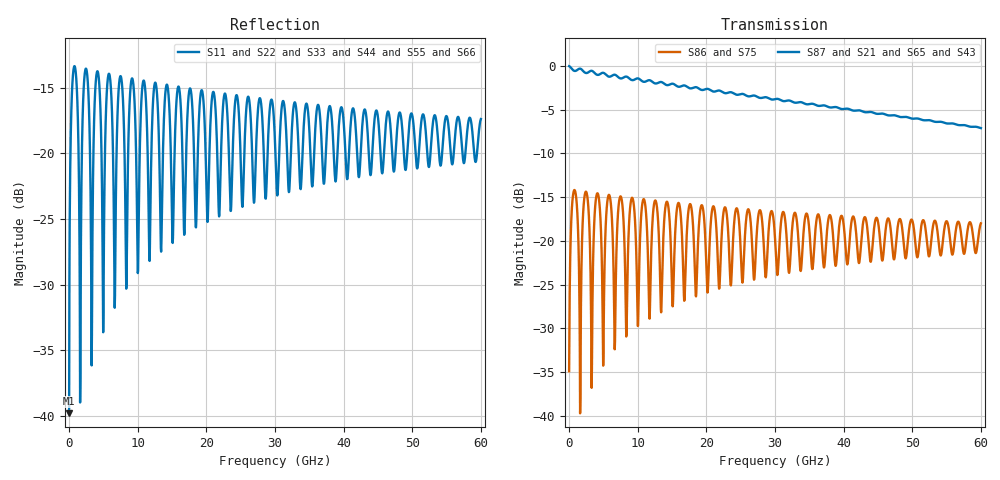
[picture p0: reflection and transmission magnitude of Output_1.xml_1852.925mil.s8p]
# Hz S ri R 50
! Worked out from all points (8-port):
!   1500 points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, 40 MHz to 60 GHz, reference 50 ohm
!   strongest paths, dB at 40 MHz, 15.04 GHz, 30.04 GHz, 45.04 GHz, 60 GHz:
!     S87: 0.0, -2.0, -3.8, -5.5, -7.1
!     S21: 0.0, -2.0, -3.8, -5.5, -7.1
!     S65: 0.0, -2.0, -3.8, -5.5, -7.1
!     S43: 0.0, -2.0, -3.8, -5.5, -7.1
!     S86: -34.9, -26.0, -19.9, -17.9, -18.0
!     S75: -34.9, -26.0, -19.9, -17.9, -18.0
!   lowest |S11| = -39.8 dB at 40 MHz (marker M1), VSWR 1.02, Z = 50.2 - j1.01 ohm
!   |S11| at or under -10 dB: start of sweep to end of sweep
